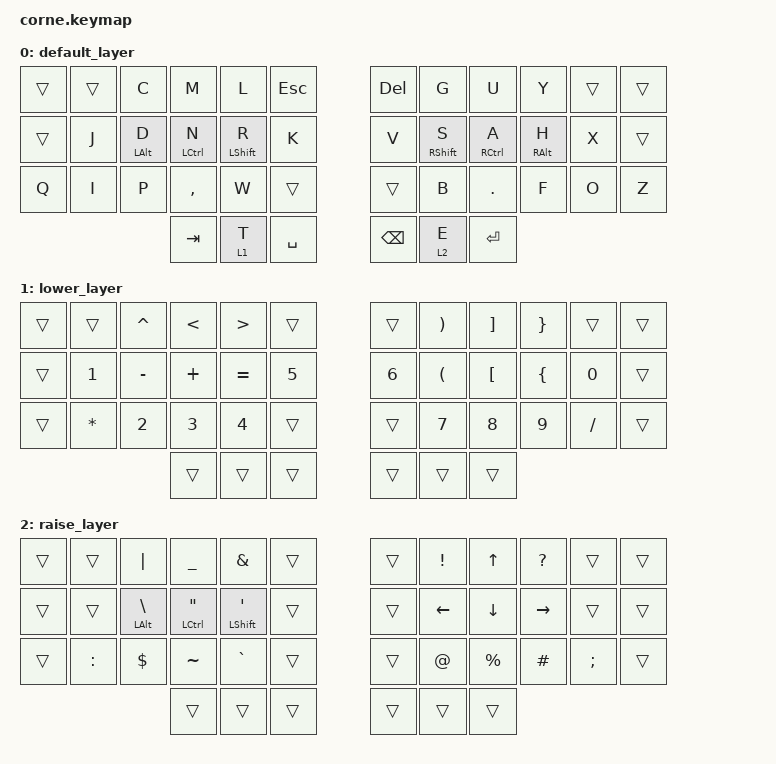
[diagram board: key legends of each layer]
/*
 * Copyright (c) 2020 The ZMK Contributors
 *
 * SPDX-License-Identifier: MIT
 */

#include <behaviors.dtsi>
#include <dt-bindings/zmk/keys.h>

&mt {
    flavor = "balanced";
    tapping-term-ms = <280>;
    quick-tap-ms = <175>;
    require-prior-idle-ms = <150>;
};

/ {
    keymap {
        compatible = "zmk,keymap";

        default_layer {
            // -----------------------------------------------------------------------------------------
            // |  TAB |  Q  |  W  |  E  |  R  |  T  |   |  Y  |  U   |  I  |  O  |  P  | BSPC |
            // | CTRL |  A  |  S  |  D  |  F  |  G  |   |  H  |  J   |  K  |  L  |  ;  |  '   |
            // | SHFT |  Z  |  X  |  C  |  V  |  B  |   |  N  |  M   |  ,  |  .  |  /  | ESC  |
            //                    | GUI | LWR | SPC |   | ENT | RSE  | ALT |

            bindings = <
&trans  &trans  &kp C           &kp M               &kp L             &kp ESCAPE    &kp DEL        &kp G              &kp U                &kp Y            &trans  &trans
&trans  &kp J   &mt LEFT_ALT D  &mt LEFT_CONTROL N  &mt LEFT_SHIFT R  &kp K         &kp V          &mt RIGHT_SHIFT S  &mt RIGHT_CONTROL A  &mt RIGHT_ALT H  &kp X   &trans
&kp Q   &kp I   &kp P           &kp COMMA           &kp W             &trans        &trans         &kp B              &kp DOT              &kp F            &kp O   &kp Z
                                &kp TAB             &lt 1 T           &kp SPACE     &kp BACKSPACE  &lt 2 E            &kp ENTER
            >;
        };

        lower_layer {
            bindings = <
&trans  &trans     &kp CARET  &kp LESS_THAN  &kp GREATER_THAN  &trans    &trans  &kp RIGHT_PARENTHESIS  &kp RBKT  &kp RIGHT_BRACE  &trans    &trans
&trans  &kp N1     &kp MINUS  &kp PLUS       &kp EQUAL         &kp N5    &kp N6  &kp LEFT_PARENTHESIS   &kp LBKT  &kp LEFT_BRACE   &kp N0    &trans
&trans  &kp ASTRK  &kp N2     &kp N3         &kp N4            &trans    &trans  &kp N7                 &kp N8    &kp N9           &kp FSLH  &trans
                              &trans         &trans            &trans    &trans  &trans                 &trans
            >;
        };

        raise_layer {
            // -----------------------------------------------------------------------------------------
            // |  TAB |  !  |  @  |  #  |  $  |  %  |   |  ^  |  &  |  *  |  (  |  )  | BSPC |
            // | CTRL |     |     |     |     |     |   |  -  |  =  |  [  |  ]  |  \  |  `   |
            // | SHFT |     |     |     |     |     |   |  _  |  +  |  {  |  }  | "|" |  ~   |
            //                    | GUI |     | SPC |   | ENT |     | ALT |

            bindings = <
&trans  &trans     &kp PIPE                &kp UNDER                       &kp AMPS                     &trans    &trans  &kp EXCL     &kp UP_ARROW  &kp QUESTION  &trans    &trans
&trans  &trans     &mt LEFT_ALT BACKSLASH  &mt LEFT_CONTROL DOUBLE_QUOTES  &mt LEFT_SHIFT SINGLE_QUOTE  &trans    &trans  &kp LEFT     &kp DOWN      &kp RIGHT     &trans    &trans
&trans  &kp COLON  &kp DOLLAR              &kp TILDE                       &kp GRAVE                    &trans    &trans  &kp AT_SIGN  &kp PERCENT   &kp HASH      &kp SEMI  &trans
                                           &trans                          &trans                       &trans    &trans  &trans       &trans
            >;
        };
    };
};
